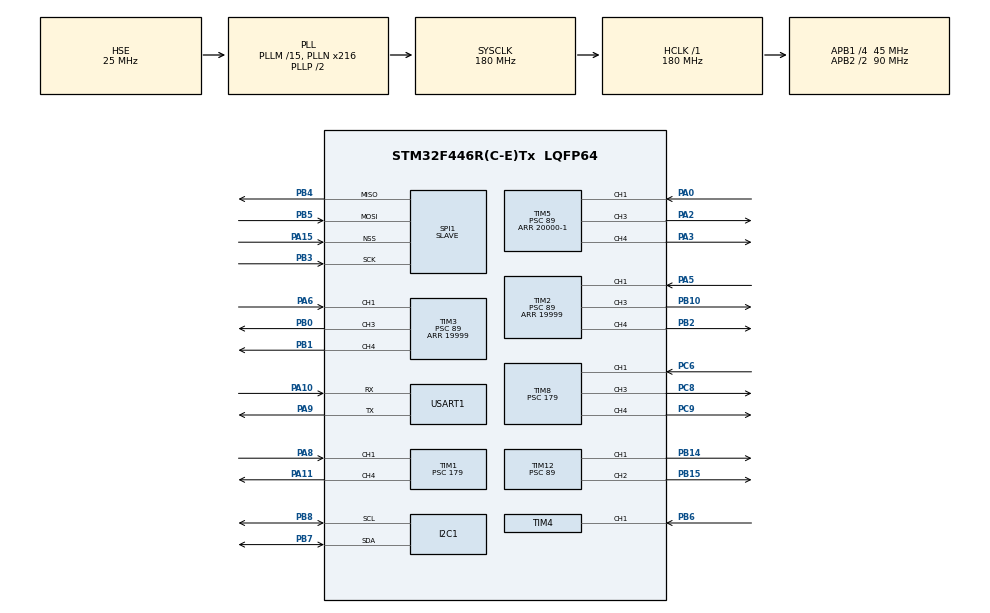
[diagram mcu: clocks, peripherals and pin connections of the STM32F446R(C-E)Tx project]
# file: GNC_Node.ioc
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FREERTOS.Tasks01=getPWM,24,256,getPWMTask,Default,NULL,Dynamic,NULL,NULL;BNOAccel,8,128,BNOAccelRun,Default,NULL,Dynamic,NULL,NULL;Print,9,256,PrintDebug,Default,NULL,Dynamic,NULL,NULL;PhiControll,44,128,StartPhiControll,Default,NULL,Dynamic,NULL,NULL;SideSlipControl,43,128,StartSideSlipControll,Default,NULL,Dynamic,NULL,NULL;PitchControll,45,128,StartPitchControll,Default,NULL,Dynamic,NULL,NULL;AltitudeControl,47,128,StartAltitudeControll,Default,NULL,Dynamic,NULL,NULL;AirSpeedControl,46,128,StartAirSpeedControll,Default,NULL,Dynamic,NULL,NULL;HorizontalNav,48,128,StartHorizontalNav,Default,NULL,Dynamic,NULL,NULL;WayPointsTreat,49,128,StartWayPointsTreat,Default,NULL,Dynamic,NULL,NULL
I2C1.I2C_Mode=I2C_Fast
Mcu.Family=STM32F4
Mcu.Name=STM32F446R(C-E)Tx
Mcu.Package=LQFP64
NVIC.PriorityGroup=NVIC_PRIORITYGROUP_4
NVIC.SPI1_IRQn=true\:5\:0\:false\:false\:true\:true\:true\:true\:true
NVIC.TIM1_CC_IRQn=true\:5\:0\:false\:false\:true\:true\:true\:true\:true
NVIC.TIM4_IRQn=true\:5\:0\:false\:false\:true\:true\:true\:true\:true
PA0-WKUP.Signal=S_TIM5_CH1
PA1.Signal=S_TIM5_CH2
PA10.Mode=Asynchronous
PA10.Signal=USART1_RX
PA11.Signal=S_TIM1_CH4
PA13.Mode=Serial_Wire
PA13.Signal=SYS_JTMS-SWDIO
PA14.Mode=Serial_Wire
PA14.Signal=SYS_JTCK-SWCLK
PA15.Mode=NSS_Signal_Hard_Input
PA15.Signal=SPI1_NSS
PA2.Signal=S_TIM5_CH3
PA3.Signal=S_TIM5_CH4
PA5.Signal=S_TIM2_CH1_ETR
PA6.Signal=S_TIM3_CH1
PA7.Signal=S_TIM3_CH2
PA8.Signal=S_TIM1_CH1
PA9.Mode=Asynchronous
PA9.Signal=USART1_TX
PB0.Signal=S_TIM3_CH3
PB1.Signal=S_TIM3_CH4
PB10.Signal=S_TIM2_CH3
PB14.Signal=S_TIM12_CH1
PB15.Signal=S_TIM12_CH2
PB2.Signal=S_TIM2_CH4
PB3.Mode=Full_Duplex_Slave
PB3.Signal=SPI1_SCK
PB4.Mode=Full_Duplex_Slave
PB4.Signal=SPI1_MISO
PB5.Mode=Full_Duplex_Slave
PB5.Signal=SPI1_MOSI
PB6.Signal=S_TIM4_CH1
PB7.Mode=I2C
PB7.Signal=I2C1_SDA
PB8.Mode=I2C
PB8.Signal=I2C1_SCL
PB9.Signal=S_TIM2_CH2
PC14-OSC32_IN.Mode=LSE-External-Oscillator
PC14-OSC32_IN.Signal=RCC_OSC32_IN
PC15-OSC32_OUT.Mode=LSE-External-Oscillator
PC15-OSC32_OUT.Signal=RCC_OSC32_OUT
PC6.Signal=S_TIM8_CH1
PC8.Signal=S_TIM8_CH3
PC9.Signal=S_TIM8_CH4
PH0-OSC_IN.Mode=HSE-External-Oscillator
PH0-OSC_IN.Signal=RCC_OSC_IN
PH1-OSC_OUT.Mode=HSE-External-Oscillator
PH1-OSC_OUT.Signal=RCC_OSC_OUT
ProjectManager.HeapSize=0x200
ProjectManager.StackSize=0x400
ProjectManager.TargetToolchain=STM32CubeIDE
RCC.AHBFreq_Value=180000000
RCC.APB1CLKDivider=RCC_HCLK_DIV4
RCC.APB1Freq_Value=45000000
RCC.APB1TimFreq_Value=90000000
RCC.APB2CLKDivider=RCC_HCLK_DIV2
RCC.APB2Freq_Value=90000000
RCC.APB2TimFreq_Value=180000000
RCC.CortexFreq_Value=180000000
RCC.HCLKFreq_Value=180000000
RCC.PLLM=15
RCC.PLLN=216
RCC.PLLSourceVirtual=RCC_PLLSOURCE_HSE
RCC.SYSCLKFreq_VALUE=180000000
RCC.SYSCLKSource=RCC_SYSCLKSOURCE_PLLCLK
RCC.USBFreq_Value=180000000
RCC.VCOOutputFreq_Value=360000000
SH.S_TIM12_CH1.0=TIM12_CH1,PWM Generation1 CH1
SH.S_TIM12_CH2.0=TIM12_CH2,PWM Generation2 CH2
SH.S_TIM1_CH1.0=TIM1_CH1,Input_Capture1_from_TI1
SH.S_TIM1_CH4.0=TIM1_CH4,PWM Generation4 CH4
SH.S_TIM2_CH1_ETR.0=TIM2_CH1,PWM_Input_1
SH.S_TIM2_CH2.0=TIM2_CH2
SH.S_TIM2_CH3.0=TIM2_CH3,PWM Generation3 CH3
SH.S_TIM2_CH4.0=TIM2_CH4,PWM Generation4 CH4
SH.S_TIM3_CH1.0=TIM3_CH1,PWM_Input_1
SH.S_TIM3_CH2.0=TIM3_CH2
SH.S_TIM3_CH3.0=TIM3_CH3,PWM Generation3 CH3
SH.S_TIM3_CH4.0=TIM3_CH4,PWM Generation4 CH4
SH.S_TIM4_CH1.0=TIM4_CH1,Input_Capture1_from_TI1
SH.S_TIM5_CH1.0=TIM5_CH1,PWM_Input_1
SH.S_TIM5_CH2.0=TIM5_CH2
SH.S_TIM5_CH3.0=TIM5_CH3,PWM Generation3 CH3
SH.S_TIM5_CH4.0=TIM5_CH4,PWM Generation4 CH4
SH.S_TIM8_CH1.0=TIM8_CH1,PWM_Input_1
SH.S_TIM8_CH3.0=TIM8_CH3,PWM Generation3 CH3
SH.S_TIM8_CH4.0=TIM8_CH4,PWM Generation4 CH4
SPI1.CLKPhase=SPI_PHASE_2EDGE
SPI1.Direction=SPI_DIRECTION_2LINES
SPI1.Mode=SPI_MODE_SLAVE
SPI1.TIMode=SPI_TIMODE_DISABLE
SPI1.VirtualNSS=VM_NSSHARD
SPI1.VirtualType=VM_SLAVE
TIM1.Channel-Input_Capture1_from_TI1=TIM_CHANNEL_1
TIM1.Channel-PWM\ Generation4\ CH4=TIM_CHANNEL_4
TIM1.Period=19999
TIM1.Prescaler=179
TIM12.Channel-PWM\ Generation1\ CH1=TIM_CHANNEL_1
TIM12.Channel-PWM\ Generation2\ CH2=TIM_CHANNEL_2
TIM12.Period=19999
TIM12.Prescaler=89
TIM2.Channel-PWM\ Generation3\ CH3=TIM_CHANNEL_3
TIM2.Channel-PWM\ Generation4\ CH4=TIM_CHANNEL_4
TIM2.Period=19999
TIM2.Prescaler=89
TIM3.Channel-PWM\ Generation3\ CH3=TIM_CHANNEL_3
TIM3.Channel-PWM\ Generation4\ CH4=TIM_CHANNEL_4
TIM3.Period=19999
TIM3.Prescaler=89
TIM4.Channel-Input_Capture1_from_TI1=TIM_CHANNEL_1
TIM4.Period=19999
TIM4.Prescaler=89
TIM5.Channel-PWM\ Generation3\ CH3=TIM_CHANNEL_3
TIM5.Channel-PWM\ Generation4\ CH4=TIM_CHANNEL_4
TIM5.Period=20000-1
TIM5.Prescaler=89
TIM8.Channel-PWM\ Generation3\ CH3=TIM_CHANNEL_3
TIM8.Channel-PWM\ Generation4\ CH4=TIM_CHANNEL_4
TIM8.Prescaler=179
USART1.VirtualMode=VM_ASYNC
VP_FREERTOS_VS_CMSIS_V2.Mode=CMSIS_V2
VP_TIM12_VS_ClockSourceINT.Mode=Internal
VP_TIM1_VS_ClockSourceINT.Mode=Internal
VP_TIM2_VS_ClockSourceINT.Mode=Internal
VP_TIM3_VS_ClockSourceINT.Mode=Internal
VP_TIM4_VS_ClockSourceINT.Mode=Internal
VP_TIM5_VS_ClockSourceINT.Mode=Internal
VP_TIM8_VS_ClockSourceINT.Mode=Internal
board=custom

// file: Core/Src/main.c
/* USER CODE BEGIN Header */
/**
  ******************************************************************************
  * @file           : main.c
  * @brief          : Main program body
  ******************************************************************************
  * @attention
  *
  * Copyright (c) 2026 STMicroelectronics.
  * All rights reserved.
  *
  * This software is licensed under terms that can be found in the LICENSE file
  * in the root directory of this software component.
  * If no LICENSE file comes with this software, it is provided AS-IS.
  *
  ******************************************************************************
  */
/* USER CODE END Header */
#include "main.h"
#include "cmsis_os.h"
#include "i2c.h"
#include "spi.h"
#include "tim.h"
#include "usart.h"
#include "gpio.h"

/* USER CODE BEGIN Includes */
#include <stdlib.h>
#include <stdio.h>
#include <stdbool.h>
/* USER CODE END Includes */

/* USER CODE BEGIN PV */
uint8_t rx_data[8];
uint8_t tx_data[8];  // response (optional)

uint8_t counter = 0;

uint16_t x = 0;
uint16_t y = 0;
uint16_t z = 0;

uint8_t flags = 0;
uint8_t checksum = 0;

// ---- 3. Validate checksum ----
uint8_t calc = 0;
bool connected = 0;

void HAL_SPI_TxRxCpltCallback(SPI_HandleTypeDef *hspi)
{
	if (hspi->Instance == SPI1)
    {
        // ---- 1. Validate header ----
    	//HAL_GPIO_TogglePin(GPIOC, GPIO_PIN_7);

            // ---- 2. Extract data ----
            counter = rx_data[1];

            x = (rx_data[2] << 8) | rx_data[3];
            y = (rx_data[4] << 8) | rx_data[5];
            z = (rx_data[6] << 8) | rx_data[7];

            flags = rx_data[8];
            checksum = rx_data[9];

            // ---- 3. Validate checksum ----
            calc = rx_data[0] ^ rx_data[1] ^ rx_data[2] ^ rx_data[3] ^
                           rx_data[4] ^ rx_data[5] ^ rx_data[6] ^ rx_data[7] ^ rx_data[8];

            if (calc != checksum){
            	connected = 0;
            }
            else{
            	connected = 1;
            }
        // ---- 4. Prepare response (optional) ----
        tx_data[0] = 0xB1;  // response header
        tx_data[1] = rx_data[1]; // echo counter (good for sync/debug)

        // ---- 5. RE-ARM SPI (CRITICAL) ----
        HAL_SPI_TransmitReceive_IT(&hspi1, tx_data, rx_data, 10);
    }
}

/* USER CODE END PV */

void SystemClock_Config(void);
void MX_FREERTOS_Init(void);

/* USER CODE BEGIN 0 */

//int _write(int file, char *ptr, int len)
//{
//    HAL_UART_Transmit(&huart1, (uint8_t *)ptr, len, HAL_MAX_DELAY);
//    return len;
//}

//typedef struct
//  {
//      uint32_t pulse_us;
//      uint32_t period_us;
//      float duty;
//
//      uint32_t last_update_tick;
//  } PWM_Channel_t;
//
//
//
//  #define PWM_CHANNELS 6
//  volatile PWM_Channel_t pwm[PWM_CHANNELS];

//  void HAL_TIM_IC_CaptureCallback(TIM_HandleTypeDef *htim)
//  {
//      uint32_t period, pulse;
//
//      if(htim->Channel != HAL_TIM_ACTIVE_CHANNEL_1)
//          return;
//
//      if(htim->Channel == HAL_TIM_ACTIVE_CHANNEL_1)
//      {
//          period = HAL_TIM_ReadCapturedValue(htim, TIM_CHANNEL_1);
//          pulse  = HAL_TIM_ReadCapturedValue(htim, TIM_CHANNEL_2);
//      }
//
//      if(period == 0) return;
//
//      uint8_t idx = 0xFF;
//
//      if(htim->Instance == TIM1) idx = 0;
//      else if(htim->Instance == TIM2) idx = 1;
//      else if(htim->Instance == TIM3) idx = 2;
//      else if(htim->Instance == TIM4) idx = 3;
//      else if(htim->Instance == TIM5) idx = 4;
//      else if(htim->Instance == TIM8) idx = 5;
//
//      if(idx < PWM_CHANNELS)
//      {
//          pwm[idx].pulse_us = pulse;   // assuming prescaler = 1 MHz
//          pwm[idx].period_us = period;
//          pwm[idx].duty = (float)pulse / (float)period;
//          //pwm[idx].last_update_tick = xTaskGetTickCountFromISR();
//      }
//  }

/* USER CODE END 0 */

int main(void)
{

  /* MCU Configuration--------------------------------------------------------*/

  /* Reset of all peripherals, Initializes the Flash interface and the Systick. */
  HAL_Init();

  /* USER CODE BEGIN Init */

//  float mapPWM(uint32_t pulse)
//  {
//      // Typical RC: 1000–2000 µs
//      return ((float)pulse - 1500.0f) / 500.0f; // → [-1, 1]
//  }

  /* USER CODE END Init */

  /* Configure the system clock */
  SystemClock_Config();

  /* Initialize all configured peripherals */
  MX_GPIO_Init();
  MX_USART1_UART_Init();
  MX_TIM2_Init();
  MX_TIM3_Init();
  MX_TIM5_Init();
  MX_TIM1_Init();
  MX_TIM4_Init();
  MX_TIM8_Init();
  MX_TIM12_Init();
  MX_I2C1_Init();
  MX_SPI1_Init();
  /* USER CODE BEGIN 2 */

  HAL_SPI_TransmitReceive_IT(&hspi1, tx_data, rx_data, 8);

  /* Start PWM input capture */

  HAL_TIM_IC_Start_IT(&htim1, TIM_CHANNEL_1);

  HAL_TIM_IC_Start_IT(&htim2, TIM_CHANNEL_1);
  HAL_TIM_IC_Start_IT(&htim2, TIM_CHANNEL_2);

  HAL_TIM_IC_Start_IT(&htim3, TIM_CHANNEL_1);
  HAL_TIM_IC_Start_IT(&htim3, TIM_CHANNEL_2);

  HAL_TIM_IC_Start_IT(&htim4, TIM_CHANNEL_1);

  HAL_TIM_IC_Start_IT(&htim5, TIM_CHANNEL_1);
  HAL_TIM_IC_Start_IT(&htim5, TIM_CHANNEL_2);

  HAL_TIM_IC_Start_IT(&htim8, TIM_CHANNEL_1);
  HAL_TIM_IC_Start_IT(&htim8, TIM_CHANNEL_2);

  //Inicialzação dos Emissores de PWM para os servos

  HAL_TIM_PWM_Start(&htim1, TIM_CHANNEL_4);

  HAL_TIM_PWM_Start(&htim2, TIM_CHANNEL_3);
  HAL_TIM_PWM_Start(&htim2, TIM_CHANNEL_4);

  HAL_TIM_PWM_Start(&htim3, TIM_CHANNEL_3);
  HAL_TIM_PWM_Start(&htim3, TIM_CHANNEL_4);

  HAL_TIM_PWM_Start(&htim5, TIM_CHANNEL_3);
  HAL_TIM_PWM_Start(&htim5, TIM_CHANNEL_4);

  HAL_TIM_PWM_Start(&htim8, TIM_CHANNEL_3);
  HAL_TIM_PWM_Start(&htim8, TIM_CHANNEL_4);

  HAL_TIM_PWM_Start(&htim12, TIM_CHANNEL_1);
  HAL_TIM_PWM_Start(&htim12, TIM_CHANNEL_2);

  //HAL_TIM_PWM_Start(&htim5, TIM_CHANNEL_3);

  //__HAL_TIM_SET_COMPARE(&htim3, TIM_CHANNEL_3, 910);

  CoreDebug->DEMCR |= CoreDebug_DEMCR_TRCENA_Msk; // Enable trace
  DWT->CYCCNT = 0;                                // Reset counter
  DWT->CTRL |= DWT_CTRL_CYCCNTENA_Msk;            // Enable cycle counter

  /* USER CODE END 2 */

  /* Init scheduler */
  osKernelInitialize();  /* Call init function for freertos objects (in cmsis_os2.c) */
  MX_FREERTOS_Init();

  /* Start scheduler */
  osKernelStart();

  /* We should never get here as control is now taken by the scheduler */

  /* Infinite loop */
  while (1)
  {

  }
}

void SystemClock_Config(void)
{
  RCC_OscInitTypeDef RCC_OscInitStruct = {0};
  RCC_ClkInitTypeDef RCC_ClkInitStruct = {0};

  /** Configure the main internal regulator output voltage
  */
  __HAL_RCC_PWR_CLK_ENABLE();
  __HAL_PWR_VOLTAGESCALING_CONFIG(PWR_REGULATOR_VOLTAGE_SCALE1);

  /** Initializes the RCC Oscillators according to the specified parameters
  * in the RCC_OscInitTypeDef structure.
  */
  RCC_OscInitStruct.OscillatorType = RCC_OSCILLATORTYPE_HSE;
  RCC_OscInitStruct.HSEState = RCC_HSE_ON;
  RCC_OscInitStruct.PLL.PLLState = RCC_PLL_ON;
  RCC_OscInitStruct.PLL.PLLSource = RCC_PLLSOURCE_HSE;
  RCC_OscInitStruct.PLL.PLLM = 15;
  RCC_OscInitStruct.PLL.PLLN = 216;
  RCC_OscInitStruct.PLL.PLLP = RCC_PLLP_DIV2;
  RCC_OscInitStruct.PLL.PLLQ = 2;
  RCC_OscInitStruct.PLL.PLLR = 2;
  if (HAL_RCC_OscConfig(&RCC_OscInitStruct) != HAL_OK)
  {
    Error_Handler();
  }

  /** Activate the Over-Drive mode
  */
  if (HAL_PWREx_EnableOverDrive() != HAL_OK)
  {
    Error_Handler();
  }

  /** Initializes the CPU, AHB and APB buses clocks
  */
  RCC_ClkInitStruct.ClockType = RCC_CLOCKTYPE_HCLK|RCC_CLOCKTYPE_SYSCLK
                              |RCC_CLOCKTYPE_PCLK1|RCC_CLOCKTYPE_PCLK2;
  RCC_ClkInitStruct.SYSCLKSource = RCC_SYSCLKSOURCE_PLLCLK;
  RCC_ClkInitStruct.AHBCLKDivider = RCC_SYSCLK_DIV1;
  RCC_ClkInitStruct.APB1CLKDivider = RCC_HCLK_DIV4;
  RCC_ClkInitStruct.APB2CLKDivider = RCC_HCLK_DIV2;

  if (HAL_RCC_ClockConfig(&RCC_ClkInitStruct, FLASH_LATENCY_5) != HAL_OK)
  {
    Error_Handler();
  }
}

void Error_Handler(void)
{
  __disable_irq();
  while (1)
  {
  }
}

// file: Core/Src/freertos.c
/* USER CODE BEGIN Header */
/**
  ******************************************************************************
  * File Name          : freertos.c
  * Description        : Code for freertos applications
  ******************************************************************************
  * @attention
  *
  * Copyright (c) 2026 STMicroelectronics.
  * All rights reserved.
  *
  * This software is licensed under terms that can be found in the LICENSE file
  * in the root directory of this software component.
  * If no LICENSE file comes with this software, it is provided AS-IS.
  *
  ******************************************************************************
  */
/* USER CODE END Header */

#include "FreeRTOS.h"
#include "task.h"
#include "main.h"
#include "cmsis_os.h"

/* USER CODE BEGIN Includes */
#include <stdlib.h>
#include <stdio.h>
#include "usart.h"
#include "tim.h"
#include "math.h"
#include "i2c.h"
#include <stdbool.h>
#include "spi.h"
/* USER CODE END Includes */

/* USER CODE BEGIN PTD */
bool debug = 1;

int _write(int file, char *ptr, int len)
{
    HAL_UART_Transmit(&huart1, (uint8_t *)ptr, len, HAL_MAX_DELAY);
    return len;
}

extern uint8_t rx_data[8];
extern uint8_t tx_data[8];  // response (optional)

extern uint8_t counter;

extern uint16_t x = 0;
extern uint16_t y = 0;
extern uint16_t z = 0;

extern bool connected;

volatile uint32_t rise = 0;
volatile uint32_t fall = 0;
volatile uint32_t pulse_width = 0;
volatile uint8_t is_rising = 1;

volatile uint32_t rise4 = 0;
volatile uint32_t fall4 = 0;
volatile uint32_t pulse_width4 = 0;
volatile uint8_t is_rising4 = 1;

void HAL_TIM_IC_CaptureCallback(TIM_HandleTypeDef *htim) //é melhor usar CASE e switch aqui
{

    if (htim->Instance == TIM1 &&
        htim->Channel == HAL_TIM_ACTIVE_CHANNEL_1)
    {
        uint32_t val = HAL_TIM_ReadCapturedValue(htim, TIM_CHANNEL_1);

        if (is_rising)
        {
            rise = val;

            // switch to falling edge
            __HAL_TIM_SET_CAPTUREPOLARITY(htim,
                                         TIM_CHANNEL_1,
                                         TIM_INPUTCHANNELPOLARITY_FALLING);

            is_rising = 0;
        }
        else
        {
            fall = val;

            // handle overflow
            if (fall >= rise)
                pulse_width = fall - rise;

            else
                pulse_width = (htim->Instance->ARR - rise + fall);

            // switch back to rising
            __HAL_TIM_SET_CAPTUREPOLARITY(htim,
                                         TIM_CHANNEL_1,
                                         TIM_INPUTCHANNELPOLARITY_RISING);

            is_rising = 1;
        }
    }

    if (htim->Instance == TIM4 &&
            htim->Channel == HAL_TIM_ACTIVE_CHANNEL_1)
        {
            uint32_t val = HAL_TIM_ReadCapturedValue(htim, TIM_CHANNEL_1);

            if (is_rising4)
            {
                rise4 = val;

                // switch to falling edge
                __HAL_TIM_SET_CAPTUREPOLARITY(htim,
                                             TIM_CHANNEL_1,
                                             TIM_INPUTCHANNELPOLARITY_FALLING);

                is_rising4 = 0;
            }
            else
            {
                fall4 = val;

                // handle overflow
                if (fall4 >= rise4)
                    pulse_width4 = fall4 - rise4;
                else
                    pulse_width4 = (htim->Instance->ARR - rise4 + fall4);

                // switch back to rising
                __HAL_TIM_SET_CAPTUREPOLARITY(htim,
                                             TIM_CHANNEL_1,
                                             TIM_INPUTCHANNELPOLARITY_RISING);

                is_rising4 = 1;
            }
        }

}

float s1 = 0;
float s2 = 0;

void PWM_set(void){

}

typedef struct
  {
      float pulse_us;
      float period_us;
      float duty;

      uint32_t last_update_tick;
  } PWM_Channel_t;

float phi;
float xi;
float theta;
float beta;
float h;
float phi_c = 0;
float Xc = 0;

float xi_inf = 3.141592653/2;  //colocar pi real
float K_path = 0.02;

float p[3] = {x, y, z};
float way_points[3][3] = {{3, 3, 3},{3, 3, 3},{3, 3, 3}};  //pegar as coordenadas dos waypoints com o bohn
float r[3] = {0, 0, 0};
float q[3] = {0, 0, 0};

#define PWM_CHANNELS 6
volatile PWM_Channel_t pwm_read[PWM_CHANNELS];

uint8_t Buffer[25] = {0};
uint8_t Space[] = " - ";
uint8_t StartMSG[] = "Starting I2C Scanning: \r\n";
uint8_t EndMSG[] = "Done! \r\n\r\n";

void I2C_Scan(void)
{
    HAL_StatusTypeDef result;
    uint8_t i;

    printf("\r\n--- I2C SCAN START ---\r\n");

    for (i = 1; i < 128; i++)
    {
        result = HAL_I2C_IsDeviceReady(
                    &hi2c1,
                    (uint16_t)(i << 1),
                    2,
                    5);

        if (result == HAL_OK)
        {
            printf("I2C device found at address: 0x%02X\r\n", i);
        }
    }

    printf("--- I2C SCAN END ---\r\n");
}

typedef struct {
    float heading;
    float roll;
    float pitch;
} BNO055_Euler_t;

#define BNO055_ADDR (0x28 << 1)   // or 0x29 << 1 depending on ADR pin
#define BNO055_EULER_H_LSB 0x1A

BNO055_Euler_t BNO055_ReadEuler(I2C_HandleTypeDef *hi2c)
{
    uint8_t buffer[6];
    BNO055_Euler_t euler = {0};

    if (HAL_I2C_Mem_Read(hi2c,
                         BNO055_ADDR,
                         BNO055_EULER_H_LSB,
                         I2C_MEMADD_SIZE_8BIT,
                         buffer,
                         6,
                         100) != HAL_OK)
    {
        // optional: handle error here
        return euler;
    }

    int16_t heading_raw = (int16_t)((buffer[1] << 8) | buffer[0]);
    int16_t roll_raw    = (int16_t)((buffer[3] << 8) | buffer[2]);
    int16_t pitch_raw   = (int16_t)((buffer[5] << 8) | buffer[4]);

    euler.heading = heading_raw / 16.0f;
    euler.roll    = roll_raw    / 16.0f;
    euler.pitch   = pitch_raw   / 16.0f;

    return euler;
}

BNO055_Euler_t e;

  typedef struct
  {
      float Kp;
      float Ki;
      float Kd;

      float integrator;
      float prev_error;

      float output_min;
      float output_max;

      float dt;   // sampling time (seconds)
  } PID_t;

PID_t deflexaoAileron;
PID_t roll_pid;
PID_t pitch_pid;
PID_t yaw_pid;
PID_t thr_pid;

  float PID_Update(PID_t *pid, float setpoint, float measurement)
  {
      float error = setpoint - measurement;

      // Proportional
      float P = pid->Kp * error;

      // Integral (with anti-windup clamp)
      pid->integrator += pid->Ki * error * pid->dt;

      if(pid->integrator > pid->output_max)
          pid->integrator = pid->output_max;
      else if(pid->integrator < pid->output_min)
          pid->integrator = pid->output_min;

      // Derivative (on error)
      float derivative = (error - pid->prev_error) / pid->dt;
      float D = pid->Kd * derivative;

      // Total output
      float output = P + pid->integrator + D;

      // Output saturation
      if(output > pid->output_max)
          output = pid->output_max;
      else if(output < pid->output_min)
          output = pid->output_min;

      // Save state
      pid->prev_error = error;

      return output;
  }

 float produto_escalar(const float v1[], const float v2[], int tamanho) {
      float resultado = 0.0;
      for (int i = 0; i < tamanho; i++) {
          resultado += v1[i] * v2[i];
      }
      return resultado;
  }

/* USER CODE END PTD */

/* Definitions for getPWM */
osThreadId_t getPWMHandle;
const osThreadAttr_t getPWM_attributes = {
  .name = "getPWM",
  .stack_size = 256 * 4,
  .priority = (osPriority_t) osPriorityNormal,
};
/* Definitions for BNOAccel */
osThreadId_t BNOAccelHandle;
const osThreadAttr_t BNOAccel_attributes = {
  .name = "BNOAccel",
  .stack_size = 128 * 4,
  .priority = (osPriority_t) osPriorityLow,
};
/* Definitions for Print */
osThreadId_t PrintHandle;
const osThreadAttr_t Print_attributes = {
  .name = "Print",
  .stack_size = 256 * 4,
  .priority = (osPriority_t) osPriorityLow1,
};
/* Definitions for PhiControll */
osThreadId_t PhiControllHandle;
const osThreadAttr_t PhiControll_attributes = {
  .name = "PhiControll",
  .stack_size = 128 * 4,
  .priority = (osPriority_t) osPriorityHigh4,
};
/* Definitions for SideSlipControl */
osThreadId_t SideSlipControlHandle;
const osThreadAttr_t SideSlipControl_attributes = {
  .name = "SideSlipControl",
  .stack_size = 128 * 4,
  .priority = (osPriority_t) osPriorityHigh3,
};
/* Definitions for PitchControll */
osThreadId_t PitchControllHandle;
const osThreadAttr_t PitchControll_attributes = {
  .name = "PitchControll",
  .stack_size = 128 * 4,
  .priority = (osPriority_t) osPriorityHigh5,
};
/* Definitions for AltitudeControl */
osThreadId_t AltitudeControlHandle;
const osThreadAttr_t AltitudeControl_attributes = {
  .name = "AltitudeControl",
  .stack_size = 128 * 4,
  .priority = (osPriority_t) osPriorityHigh7,
};
/* Definitions for AirSpeedControl */
osThreadId_t AirSpeedControlHandle;
const osThreadAttr_t AirSpeedControl_attributes = {
  .name = "AirSpeedControl",
  .stack_size = 128 * 4,
  .priority = (osPriority_t) osPriorityHigh6,
};
/* Definitions for HorizontalNav */
osThreadId_t HorizontalNavHandle;
const osThreadAttr_t HorizontalNav_attributes = {
  .name = "HorizontalNav",
  .stack_size = 128 * 4,
  .priority = (osPriority_t) osPriorityRealtime,
};
/* Definitions for WayPointsTreat */
osThreadId_t WayPointsTreatHandle;
const osThreadAttr_t WayPointsTreat_attributes = {
  .name = "WayPointsTreat",
  .stack_size = 128 * 4,
  .priority = (osPriority_t) osPriorityRealtime1,
};

void getPWMTask(void *argument);
void BNOAccelRun(void *argument);
void PrintDebug(void *argument);
void StartPhiControll(void *argument);
void StartSideSlipControll(void *argument);
void StartPitchControll(void *argument);
void StartAltitudeControll(void *argument);
void StartAirSpeedControll(void *argument);
void StartHorizontalNav(void *argument);
void StartWayPointsTreat(void *argument);

void MX_FREERTOS_Init(void); /* (MISRA C 2004 rule 8.1) */

void MX_FREERTOS_Init(void) {

  /* Create the thread(s) */
  /* creation of getPWM */
  getPWMHandle = osThreadNew(getPWMTask, NULL, &getPWM_attributes);

  /* creation of BNOAccel */
  BNOAccelHandle = osThreadNew(BNOAccelRun, NULL, &BNOAccel_attributes);

  /* creation of Print */
  PrintHandle = osThreadNew(PrintDebug, NULL, &Print_attributes);

  /* creation of PhiControll */
  PhiControllHandle = osThreadNew(StartPhiControll, NULL, &PhiControll_attributes);

  /* creation of SideSlipControl */
  SideSlipControlHandle = osThreadNew(StartSideSlipControll, NULL, &SideSlipControl_attributes);

  /* creation of PitchControll */
  PitchControllHandle = osThreadNew(StartPitchControll, NULL, &PitchControll_attributes);

  /* creation of AltitudeControl */
  AltitudeControlHandle = osThreadNew(StartAltitudeControll, NULL, &AltitudeControl_attributes);

  /* creation of AirSpeedControl */
  AirSpeedControlHandle = osThreadNew(StartAirSpeedControll, NULL, &AirSpeedControl_attributes);

  /* creation of HorizontalNav */
  HorizontalNavHandle = osThreadNew(StartHorizontalNav, NULL, &HorizontalNav_attributes);

  /* creation of WayPointsTreat */
  WayPointsTreatHandle = osThreadNew(StartWayPointsTreat, NULL, &WayPointsTreat_attributes);

}

void getPWMTask(void *argument)
{
  /* USER CODE BEGIN getPWMTask */
	int x = 0;

  /* Infinite loop */
  for(;;)
  {

	  x++;
	  if (x == 1000){
		  x = 0;
	  }
	  s1 = 10000*sinf(2 * M_PI * 15 * x / 1000);
	  s2 = 500*sinf(2 * M_PI * 2 * x / 1000);

	  __HAL_TIM_SET_COMPARE(&htim3, TIM_CHANNEL_3, (1500 + s2));
	  __HAL_TIM_SET_COMPARE(&htim2, TIM_CHANNEL_4, (10000 + s1));

	  pwm_read[0].period_us = 20000;
	  pwm_read[0].pulse_us = pulse_width4;
	  pwm_read[0].duty = pwm_read[0].pulse_us/pwm_read[0].period_us;

	  pwm_read[1].period_us = 20000;
	  pwm_read[1].pulse_us = pulse_width;
	  pwm_read[1].duty = pwm_read[1].pulse_us/pwm_read[1].period_us;

	  pwm_read[2].period_us = 20000;
	  pwm_read[2].pulse_us = HAL_TIM_ReadCapturedValue(&htim8, TIM_CHANNEL_2);
	  pwm_read[2].duty = pwm_read[2].pulse_us/pwm_read[2].period_us;

	  pwm_read[3].period_us = 20000;
	  pwm_read[3].pulse_us = HAL_TIM_ReadCapturedValue(&htim3, TIM_CHANNEL_2);
	  pwm_read[3].duty = pwm_read[3].pulse_us/pwm_read[3].period_us;

	  pwm_read[4].period_us = 20000;
	  pwm_read[4].pulse_us = HAL_TIM_ReadCapturedValue(&htim2, TIM_CHANNEL_2);
	  pwm_read[4].duty = pwm_read[4].pulse_us/pwm_read[4].period_us;

	  pwm_read[5].period_us = 20000;
	  pwm_read[5].pulse_us = HAL_TIM_ReadCapturedValue(&htim5, TIM_CHANNEL_2);
	  pwm_read[5].duty = pwm_read[5].pulse_us/pwm_read[5].period_us;

	  //printf("CONTROLE\r\n");

	  osDelay(20);
  }
  /* USER CODE END getPWMTask */
}

void BNOAccelRun(void *argument)
{
  /* USER CODE BEGIN BNOAccelRun */
	//bno055_assignI2C(&hi2c1);
	//bno055_setup();
	//bno055_setOperationModeNDOF();

	// after power-up
	osDelay(700);

	// config mode
	uint8_t mode = 0x00;
	HAL_I2C_Mem_Write(&hi2c1, BNO055_ADDR, 0x3D, 1, &mode, 1, 100);
	osDelay(20);

	// NDOF mode
	mode = 0x0C;
	HAL_I2C_Mem_Write(&hi2c1, BNO055_ADDR, 0x3D, 1, &mode, 1, 100);
	osDelay(20);

  /* Infinite loop */
  for(;;)
  {

	  if(connected == 0){
		  e = BNO055_ReadEuler(&hi2c1);
		  e.pitch = e.pitch*(-1);
		  phi = e.roll; //passar isso para rad
	  }
	  //I2C_Scan();
	//bno055_vector_t v = bno055_getVectorEuler();
	//printf("\n >Heading:%.2f \n>Roll:%.2f\n>Pitch:%.2f\r\n", v.x, v.y, v.z);
    osDelay(10);
  }
  /* USER CODE END BNOAccelRun */
}

void PrintDebug(void *argument)
{
  /* USER CODE BEGIN PrintDebug */
  if (debug == 1){
  /* Infinite loop */
  for(;;)
  {
	  printf(">duty0:%.5f\r\n", pwm_read[0].duty);
	  printf(">duty1:%.5f\r\n", pwm_read[1].duty);
	  printf(">duty2:%.3f\r\n", pwm_read[2].duty);
	  printf(">duty3:%.3f\r\n", pwm_read[3].duty);
	  printf(">duty4:%.3f\r\n", pwm_read[4].duty);
	  printf(">duty5:%.5f\r\n", pwm_read[5].duty);

	  printf(">sin2:%.5f\r\n", 1500 + s2);
	  printf(">sin1:%.5f\r\n", 1500 + s1);
	  printf(">counter:%d\r\n", counter);
//	  printf("\nRX: ");
//	  for (int i = 0; i < 8; i++)
//	  {
//	      printf("%02X ", rx_data[i]);
//	  }
//	  printf("\r\n");
	  printf("\n\r\n>H:%.2f\r\n>R:%.2f\r\n>P:%.2f\r\n\n", e.heading, e.roll, e.pitch);

	  osDelay(20);
  }}
  else{
	  osDelay(100000);
  }
  /* USER CODE END PrintDebug */
}

void StartPhiControll(void *argument)
{
  /* USER CODE BEGIN StartPhiControll */
  roll_pid.Kp = 1;
  roll_pid.Ki = 1;
  roll_pid.Kd = 1;

  roll_pid.output_max = 40;
  roll_pid.output_min = -40;

  deflexaoAileron.Kp = 1;
  deflexaoAileron.Ki = 1;
  deflexaoAileron.Kd = 1;

  deflexaoAileron.output_max = 30;
  deflexaoAileron.output_min = -30;

  /* Infinite loop */
  for(;;)
  {
	  roll_pid.dt = 0.01;
	  phi_c = PID_Update(&roll_pid, Xc, X);

	  deflexaoAileron.dt = 0.01; //segundos
	  float deflexaoa = PID_Update(&deflexaoAileron, phi_c, phi);
	  osDelay(10); //100Hz
  }
  /* USER CODE END StartPhiControll */
}

void StartSideSlipControll(void *argument)
{
  for(;;)
  {
    osDelay(1);
  }
}

void StartPitchControll(void *argument)
{
  for(;;)
  {
    osDelay(1);
  }
}

void StartAltitudeControll(void *argument)
{
  for(;;)
  {
    osDelay(1);
  }
}

void StartAirSpeedControll(void *argument)
{
  for(;;)
  {
    osDelay(1);
  }
}

void StartHorizontalNav(void *argument)
{
  /* USER CODE BEGIN StartHorizontalNav */
  /* Infinite loop */
  for(;;)
  {
	  float Xq = atan2(q[1], q[0]);
	  float epy = - sin(Xq) * (p[0] - r[0]) + cos(Xq) * (p[1] - r[1]);
	  Xc = Xq - xi_inf*(2/3.141592653)*atan(K_path*epy);
    osDelay(10);
  }
  /* USER CODE END StartHorizontalNav */
}

/* USER CODE BEGIN Header_StartWayPointsTreat */
/**
* @brief Function implementing the WayPointsTreat thread.
* @param argument: Not used
* @retval None
*/

bool trocarWayPoint = 0;

/* USER CODE END Header_StartWayPointsTreat */
void StartWayPointsTreat(void *argument)
{
  /* USER CODE BEGIN StartWayPointsTreat */
  int i = 1;
  float n[3] = {0, 0, 0};
  /* Infinite loop */
  for(;;)
  {
	  r = way_points[i-1]; //talvez mudar para o modo feio
	  if(trocarWayPoint == 1){

		  float aux2[3] = {way_points[i][0] - way_points[i-1][0], way_points[i][1] - way_points[i-1][1], way_points[i][2] - way_points[i-1][2]};
		  float norma_q = sqrt(pow(aux2[0],2) + pow(aux2[1],2) + pow(aux2[2],2));
		  float q_i_m1[3] = {aux2[0]/norma_q, aux2[1]/norma_q, aux2[2]/norma_q};
		  q[0] = q_i_m1[0];
		  q[1] = q_i_m1[1];
		  q[2] = q_i_m1[2];
		  float aux3[3] = {way_points[i+1][0] - way_points[i][0], way_points[i+1][1] - way_points[i][1], way_points[i+1][2] - way_points[i][2]};
		  norma_q = sqrt(pow(aux3[0],2) + pow(aux3[1],2) + pow(aux3[2],2));
		  float q_1[3] = {aux3[0]/norma_q, aux3[1]/norma_q, aux3[2]/norma_q};
		  float aux4[3] = {q_i_m1[0] + q_1[0], q_i_m1[1] + q_1[1], q_i_m1[2] + q_1[2]};
		  norma_q = sqrt(pow(aux4[0],2) + pow(aux4[1],2) + pow(aux4[2],2));
		  n[0] = aux4[0]/norma_q;
		  n[1] = aux4[1]/norma_q;
		  n[2] = aux4[2]/norma_q;
		  trocarWayPoint = 0;
	  }

	  float aux[3] = {p[0] - r[0], p[1] - r[1], p[2] - r[2]};
	  float H = produto_escalar(aux, n, 3);

	  if (H >= 0){
		i++;
		trocarWayPoint = 1;
	  }

    osDelay(10);
  }
  /* USER CODE END StartWayPointsTreat */
}
